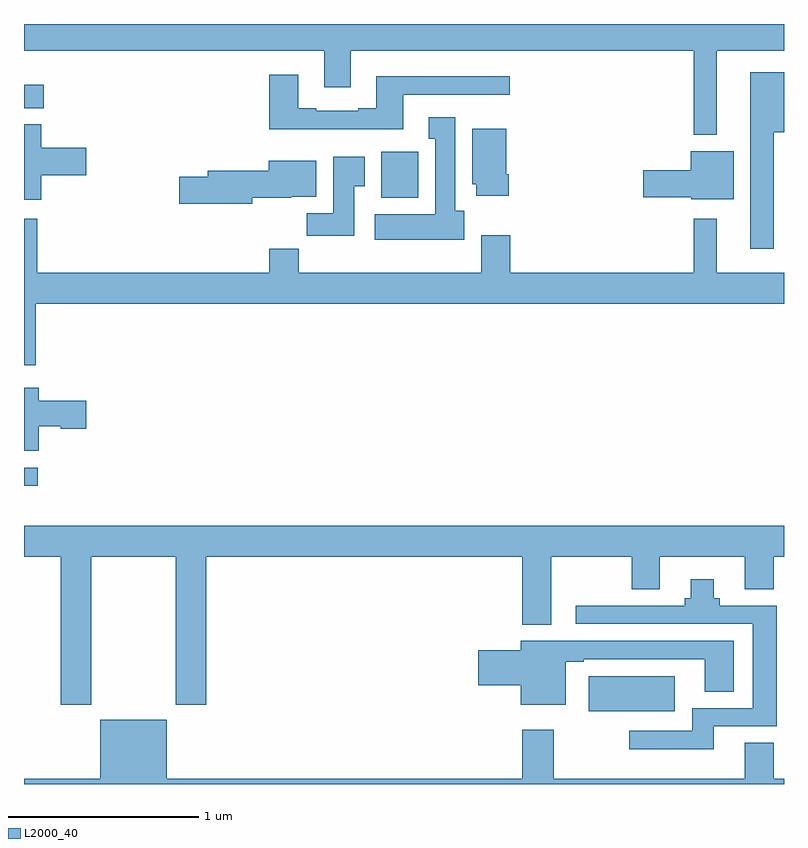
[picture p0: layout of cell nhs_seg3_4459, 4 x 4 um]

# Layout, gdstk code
import gdstk
lib = gdstk.Library(unit=1e-6, precision=1e-09)
def R(c, l, rs):  # rectangles x0, y0, x1, y1
    for r in rs: c.add(gdstk.rectangle(r[:2], r[2:], *l))
def P(c, l, *ps):  # polygons
    for p in ps: c.add(gdstk.Polygon(p, *l))
L2000_40 = (2000, 40)

nhs_seg3_4459 = lib.new_cell('nhs_seg3_4459')
R(nhs_seg3_4459, L2000_40, [(349,687.969,349.072,688.065), (350.879,689.486,351.076,689.728), (349,689.957,349.105,690.079)])
P(nhs_seg3_4459, L2000_40, [(352.645,690.26),(353,690.26),(353,690.4),(349,690.4),(349,690.26),(350.579,690.26),(350.579,690.066),(350.719,690.066),(350.719,690.26),(352.524,690.26),(352.524,689.816),(352.645,689.816)],
  [(352.945,689.83),(353,689.83),(353,690.145),(352.823,690.145),(352.823,689.217),(352.945,689.217)],
  [(350.995,690.027),(351.556,690.027),(351.556,690.124),(350.855,690.124),(350.855,689.956),(350.759,689.956),(350.759,689.943),(350.539,689.943),(350.539,689.956),(350.443,689.956),(350.443,690.133),(350.291,690.133),(350.291,689.846),(350.995,689.846)],
  [(351.316,689.418),(351.271,689.418),(351.271,689.908),(351.131,689.908),(351.131,689.795),(351.164,689.795),(351.164,689.398),(350.847,689.398),(350.847,689.264),(351.316,689.264)],
  [(349.091,689.603),(349.327,689.603),(349.327,689.75),(349.091,689.75),(349.091,689.872),(349,689.872),(349,689.475),(349.091,689.475)],
  [(351.551,689.608),(351.538,689.608),(351.538,689.848),(351.359,689.848),(351.359,689.556),(351.38,689.556),(351.38,689.496),(351.551,689.496)],
  [(352.735,689.731),(352.508,689.731),(352.508,689.63),(352.26,689.63),(352.26,689.488),(352.512,689.488),(352.512,689.477),(352.735,689.477)],
  [(350.737,689.545),(350.794,689.545),(350.794,689.701),(350.627,689.701),(350.627,689.404),(350.488,689.404),(350.488,689.286),(350.737,689.286)],
  [(350.202,689.486),(350.406,689.486),(350.406,689.492),(350.539,689.492),(350.539,689.68),(350.288,689.68),(350.288,689.627),(349.967,689.627),(349.967,689.597),(349.818,689.597),(349.818,689.455),(350.202,689.455)],
  [(349.061,688.928),(353,688.928),(353,689.092),(352.645,689.092),(352.645,689.374),(352.524,689.374),(352.524,689.092),(351.56,689.092),(351.56,689.287),(351.407,689.287),(351.407,689.092),(350.447,689.092),(350.447,689.216),(350.291,689.216),(350.291,689.092),(349.07,689.092),(349.07,689.374),(349,689.374),(349,688.605),(349.061,688.605)],
  [(349.078,688.283),(349.194,688.283),(349.194,688.271),(349.327,688.271),(349.327,688.418),(349.078,688.418),(349.078,688.486),(349,688.486),(349,688.154),(349.078,688.154)],
  [(349.353,687.596),(349.798,687.596),(349.798,686.817),(349.958,686.817),(349.958,687.596),(351.623,687.596),(351.623,687.239),(351.775,687.239),(351.775,687.596),(352.198,687.596),(352.198,687.424),(352.345,687.424),(352.345,687.596),(352.793,687.596),(352.793,687.424),(352.946,687.424),(352.946,687.596),(353,687.596),(353,687.76),(349,687.76),(349,687.596),(349.193,687.596),(349.193,686.817),(349.353,686.817)],
  [(352.63,686.703),(352.961,686.703),(352.961,687.339),(352.661,687.339),(352.661,687.378),(352.63,687.378),(352.63,687.478),(352.508,687.478),(352.508,687.378),(352.478,687.378),(352.478,687.339),(351.903,687.339),(351.903,687.243),(352.835,687.243),(352.835,686.799),(352.517,686.799),(352.517,686.679),(352.185,686.679),(352.185,686.582),(352.63,686.582)],
  [(351.85,687.044),(351.946,687.044),(351.946,687.057),(352.583,687.057),(352.583,686.886),(352.735,686.886),(352.735,687.153),(351.614,687.153),(351.614,687.104),(351.39,687.104),(351.39,686.921),(351.614,686.921),(351.614,686.816),(351.85,686.816)],
  [(352.426,686.968),(352.075,686.968),(352.075,686.967),(351.972,686.967),(351.972,686.783),(352.426,686.783)],
  [(353,686.428),(352.946,686.428),(352.946,686.618),(352.793,686.618),(352.793,686.428),(351.788,686.428),(351.788,686.686),(351.623,686.686),(351.623,686.428),(349.75,686.428),(349.75,686.737),(349.4,686.737),(349.4,686.428),(349,686.428),(349,686.4),(353,686.4)])

lib.write_gds('nhs_seg3_4459.gds')
